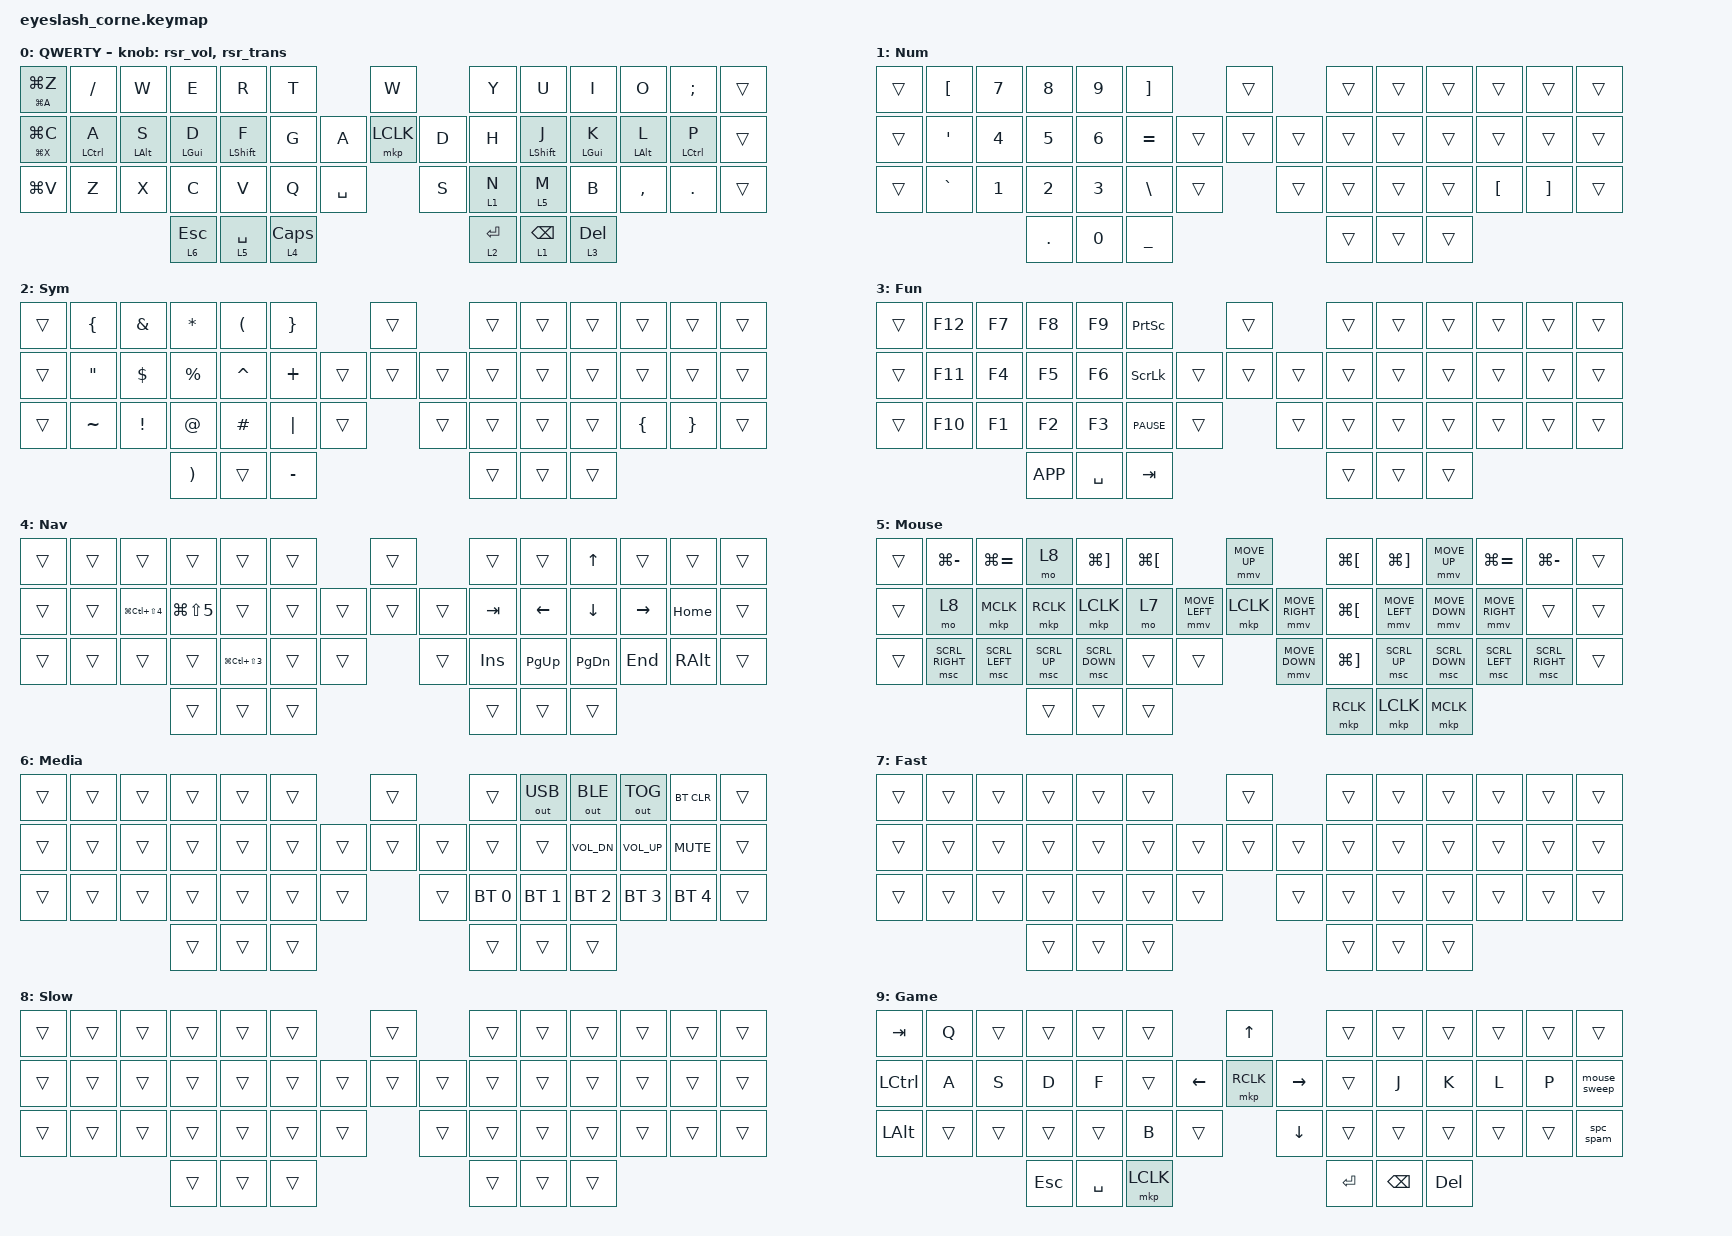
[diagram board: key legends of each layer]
/*
 * a741725193/zmk-corne-dongle 최신 main 기준 이식판
 * - behaviors(td0, hm200, hm250) / macros / combos / 10개 레이어 그대로 유지
 * - sensor-bindings만 새 구조(central-dongle이 좌우 엔코더를 2개 센서로 집계)에 맞춰
 *   rsr_vol(볼륨) + rsr_trans(오른쪽 더미) 두 개로 변경
 * - key-positions 좌표는 변경 없음 (물리 레이아웃 동일 확인함)
 */

#define ZMK_POINTING_DEFAULT_MOVE_VAL 1200
#define ZMK_POINTING_DEFAULT_SCRL_VAL 25

/* 레이어 번호 정의 */

#define MOUSE_FAST 7
#define MOUSE_SLOW 8
#define Game 9

#include <input/processors.dtsi>
#include <zephyr/dt-bindings/input/input-event-codes.h>
#include <behaviors/runtime-sensor-rotate.dtsi>
#include <behaviors.dtsi>
#include <dt-bindings/zmk/bt.h>
#include <dt-bindings/zmk/keys.h>
#include <dt-bindings/zmk/outputs.h>
#include <dt-bindings/zmk/pointing.h>

/* 마우스 리스너 설정 (원래 dongle 레포 그대로 - 레이어별 속도차) */

&mmv_input_listener {
    input-processors = <&zip_xy_scaler 2 1>;

    mouse_fast {
        layers = <MOUSE_FAST>;
        input-processors = <&zip_xy_scaler 4 1>;
    };

    mouse_teleport {
        layers = <Game>;
        input-processors = <&zip_xy_scaler 20 1>;
    };

    mouse_slow {
        layers = <MOUSE_SLOW>;
        input-processors = <&zip_xy_scaler 1 1>;
    };
};

&msc_input_listener { input-processors = <&zip_scroll_scaler 2 1>; };

&msc {
    acceleration-exponent = <1>;
    time-to-max-speed-ms = <100>;
    delay-ms = <0>;
};

&mmv {
    time-to-max-speed-ms = <500>;
    acceleration-exponent = <1>;
    trigger-period-ms = <16>;
};

/ {
    behaviors {
        td0: td0 {
            compatible = "zmk,behavior-tap-dance";
            display-name = "Shift/Caps Lock Tap Dance";
            #binding-cells = <0>;
            bindings = <&kp LEFT_SHIFT>, <&kp CAPS>;
        };

        hm200: hm200 {
            compatible = "zmk,behavior-hold-tap";
            label = "HOMEROW_MODS";
            bindings = <&kp>, <&kp>;

            #binding-cells = <2>;
            tapping-term-ms = <200>;
            quick-tap-ms = <130>;
            require-prior-idle-ms = <(-1)>;
            flavor = "tap-preferred";
        };

        hm250: hm250 {
            compatible = "zmk,behavior-hold-tap";
            label = "HM250";
            bindings = <&kp>, <&kp>;

            #binding-cells = <2>;
            tapping-term-ms = <250>;
            quick-tap-ms = <130>;
            require-prior-idle-ms = <(-1)>;
            flavor = "tap-preferred";
        };

        /* 새 구조에서 요구하는 2-센서 방식 (central-dongle이 좌/우 엔코더를 이렇게 집계함) */

        rsr_vol: rsr_vol {
            compatible = "zmk,behavior-runtime-sensor-rotate";
            #sensor-binding-cells = <0>;
            tap-ms = <5>;
            cw-binding = <&kp C_VOL_UP>;
            ccw-binding = <&kp C_VOL_DN>;
        };

        rsr_trans: rsr_trans {
            compatible = "zmk,behavior-runtime-sensor-rotate";
            #sensor-binding-cells = <0>;
            tap-ms = <0>;
        };
    };

    macros {
        spc_spam: spc_spam {
            compatible = "zmk,behavior-macro";
            #binding-cells = <0>;
            wait-ms = <100>;
            tap-ms = <100>;
            bindings = <&kp SPACE &kp SPACE &kp SPACE &kp SPACE &kp SPACE &kp SPACE &kp SPACE &kp SPACE &kp SPACE &kp SPACE &kp SPACE &kp SPACE &kp SPACE &kp SPACE>;
        };

        mouse_sweep: mouse_sweep {
            compatible = "zmk,behavior-macro";
            #binding-cells = <0>;
            wait-ms = <1>;
            tap-ms = <200>;
            bindings = <&mmv MOVE_RIGHT &mmv MOVE_LEFT &mmv MOVE_RIGHT &mmv MOVE_LEFT &mmv MOVE_RIGHT &mmv MOVE_LEFT &mmv MOVE_RIGHT>;
        };
    };

    combos {
        compatible = "zmk,combos";

        game {
            bindings = <&tog 9>;
            key-positions = <18 41>;
        };

        enter {
            bindings = <&kp ENTER>;
            key-positions = <24 25>;
            layers = <0 1>;
        };

        back_space {
            bindings = <&kp BACKSPACE>;
            key-positions = <23 24>;
            layers = <0 1>;
        };

        space {
            bindings = <&kp SPACE>;
            key-positions = <16 15>;
            layers = <0>;
        };

        caps {
            bindings = <&kp CAPSLOCK>;
            key-positions = <17 16>;
            layers = <0>;
        };
    };

    keymap {
        compatible = "zmk,keymap";

        default_layer {
            display-name = "QWERTY";
            bindings = <
&mt LG(A) LG(Z)  &kp SLASH       &kp W          &kp E              &kp R           &kp T                               &kp W             &kp Y        &kp U            &kp I              &kp O          &kp SEMICOLON   &trans
&mt LG(X) LG(C)  &hm250 LCTRL A  &hm200 LALT S  &hm200 LEFT_GUI D  &hm200 LSHFT F  &kp G                        &kp A  &mkp LCLK  &kp D  &kp H        &hm200 LSHFT J   &hm200 LEFT_GUI K  &hm200 LALT L  &hm250 LCTRL P  &trans
&kp LG(V)        &kp Z           &kp X          &kp C              &kp V           &kp Q           &kp SPACE           &kp S             &lt 1 N      &lt 5 M          &kp B              &kp COMMA      &kp PERIOD      &trans
                                                &lt 6 ESC          &lt 5 SPACE     &lt 4 CAPSLOCK                                        &lt 2 ENTER  &lt 1 BACKSPACE  &lt 3 DEL
            >;

            sensor-bindings = <&rsr_vol &rsr_trans>;
        };

        Num {
            display-name = "Num";
            bindings = <
&trans  &kp LBKT   &kp N7  &kp N8   &kp N9  &kp RBKT                          &trans          &trans  &trans  &trans  &trans    &trans    &trans
&trans  &kp APOS   &kp N4  &kp N5   &kp N6  &kp EQUAL                 &trans  &trans  &trans  &trans  &trans  &trans  &trans    &trans    &trans
&trans  &kp GRAVE  &kp N1  &kp N2   &kp N3  &kp BSLH        &trans            &trans          &trans  &trans  &trans  &kp LBKT  &kp RBKT  &trans
                           &kp DOT  &kp N0  &kp UNDERSCORE                                    &trans  &trans  &trans
            >;
        };

        Sym {
            display-name = "Sym";
            bindings = <
&trans  &kp LBRC   &kp AMPS  &kp ASTRK  &kp LPAR   &kp RBRC                     &trans          &trans  &trans  &trans  &trans    &trans    &trans
&trans  &kp DQT    &kp DLLR  &kp PRCNT  &kp CARET  &kp PLUS             &trans  &trans  &trans  &trans  &trans  &trans  &trans    &trans    &trans
&trans  &kp TILDE  &kp EXCL  &kp AT     &kp HASH   &kp PIPE   &trans            &trans          &trans  &trans  &trans  &kp LBRC  &kp RBRC  &trans
                             &kp RPAR   &trans     &kp MINUS                                    &trans  &trans  &trans
            >;
        };

        Fun {
            display-name = "Fun";
            bindings = <
&trans  &kp F12  &kp F7  &kp F8     &kp F9     &kp PSCRN                      &trans          &trans  &trans  &trans  &trans  &trans  &trans
&trans  &kp F11  &kp F4  &kp F5     &kp F6     &kp SLCK               &trans  &trans  &trans  &trans  &trans  &trans  &trans  &trans  &trans
&trans  &kp F10  &kp F1  &kp F2     &kp F3     &kp C_PAUSE  &trans            &trans          &trans  &trans  &trans  &trans  &trans  &trans
                         &kp K_APP  &kp SPACE  &kp TAB                                        &trans  &trans  &trans
            >;
        };

        Nav {
            display-name = "Nav";
            bindings = <
&trans  &trans  &trans              &trans          &trans              &trans                    &trans          &trans   &trans     &kp UP     &trans     &trans    &trans
&trans  &trans  &kp LG(LC(LS(N4)))  &kp LG(LS(N5))  &trans              &trans            &trans  &trans  &trans  &kp TAB  &kp LEFT   &kp DOWN   &kp RIGHT  &kp HOME  &trans
&trans  &trans  &trans              &trans          &kp LG(LC(LS(N3)))  &trans  &trans            &trans          &kp INS  &kp PG_UP  &kp PG_DN  &kp END    &kp RALT  &trans
                                    &trans          &trans              &trans                                    &trans   &trans     &trans
            >;
        };

        Mouse {
            display-name = "Mouse";
            bindings = <
&trans  &kp LG(MINUS)    &kp LG(EQUAL)   &mo 8         &kp LG(RBKT)    &kp LG(LBKT)                            &mmv MOVE_UP                     &kp LG(LBKT)  &kp LG(RBKT)    &mmv MOVE_UP    &kp LG(EQUAL)    &kp LG(MINUS)    &trans
&trans  &mo 8            &mkp MCLK       &mkp RCLK     &mkp LCLK       &mo 7                   &mmv MOVE_LEFT  &mkp LCLK       &mmv MOVE_RIGHT  &kp LG(LBKT)  &mmv MOVE_LEFT  &mmv MOVE_DOWN  &mmv MOVE_RIGHT  &trans           &trans
&trans  &msc SCRL_RIGHT  &msc SCRL_LEFT  &msc SCRL_UP  &msc SCRL_DOWN  &trans        &trans                    &mmv MOVE_DOWN                   &kp LG(RBKT)  &msc SCRL_UP    &msc SCRL_DOWN  &msc SCRL_LEFT   &msc SCRL_RIGHT  &trans
                                         &trans        &trans          &trans                                                                   &mkp RCLK     &mkp LCLK       &mkp MCLK
            >;
        };

        Media {
            display-name = "Media";
            bindings = <
&trans  &trans  &trans  &trans  &trans  &trans                    &trans          &trans        &out OUT_USB  &out OUT_BLE  &out OUT_TOG  &bt BT_CLR    &trans
&trans  &trans  &trans  &trans  &trans  &trans            &trans  &trans  &trans  &trans        &trans        &kp C_VOL_DN  &kp C_VOL_UP  &kp K_MUTE    &trans
&trans  &trans  &trans  &trans  &trans  &trans  &trans            &trans          &bt BT_SEL 0  &bt BT_SEL 1  &bt BT_SEL 2  &bt BT_SEL 3  &bt BT_SEL 4  &trans
                        &trans  &trans  &trans                                    &trans        &trans        &trans
            >;
        };

        MouseFast {
            display-name = "Fast";
            bindings = <
&trans  &trans  &trans  &trans  &trans  &trans                    &trans          &trans  &trans  &trans  &trans  &trans  &trans
&trans  &trans  &trans  &trans  &trans  &trans            &trans  &trans  &trans  &trans  &trans  &trans  &trans  &trans  &trans
&trans  &trans  &trans  &trans  &trans  &trans  &trans            &trans          &trans  &trans  &trans  &trans  &trans  &trans
                        &trans  &trans  &trans                                    &trans  &trans  &trans
            >;
        };

        MouseSlow {
            display-name = "Slow";
            bindings = <
&trans  &trans  &trans  &trans  &trans  &trans                    &trans          &trans  &trans  &trans  &trans  &trans  &trans
&trans  &trans  &trans  &trans  &trans  &trans            &trans  &trans  &trans  &trans  &trans  &trans  &trans  &trans  &trans
&trans  &trans  &trans  &trans  &trans  &trans  &trans            &trans          &trans  &trans  &trans  &trans  &trans  &trans
                        &trans  &trans  &trans                                    &trans  &trans  &trans
            >;
        };

        game {
            display-name = "Game";
            bindings = <
&kp TAB       &kp Q   &trans  &trans   &trans     &trans                         &kp UP                &trans     &trans         &trans      &trans  &trans  &trans
&kp LCTRL     &kp A   &kp S   &kp D    &kp F      &trans               &kp LEFT  &mkp RCLK  &kp RIGHT  &trans     &kp J          &kp K       &kp L   &kp P   &mouse_sweep
&kp LEFT_ALT  &trans  &trans  &trans   &trans     &kp B      &trans              &kp DOWN              &trans     &trans         &trans      &trans  &trans  &spc_spam
                              &kp ESC  &kp SPACE  &mkp LCLK                                            &kp ENTER  &kp BACKSPACE  &kp DELETE
            >;
        };
    };
};
